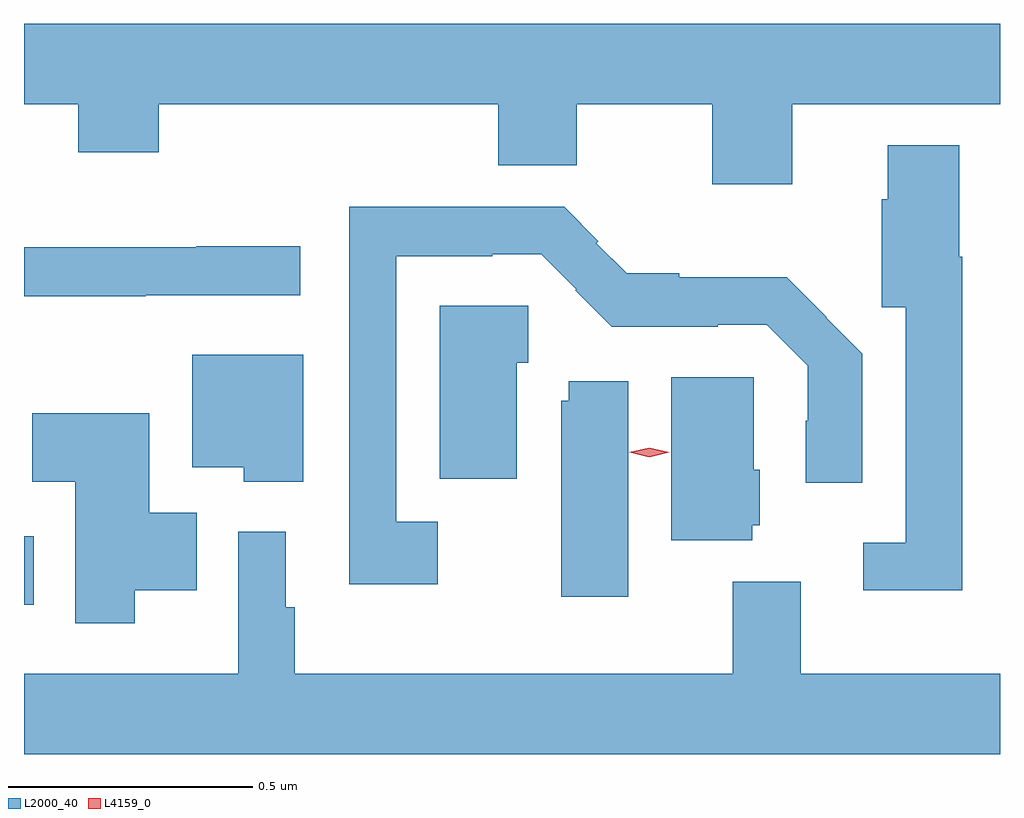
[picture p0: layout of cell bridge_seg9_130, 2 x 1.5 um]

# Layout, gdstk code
import gdstk
lib = gdstk.Library(unit=1e-6, precision=1e-09)
def R(c, l, rs):  # rectangles x0, y0, x1, y1
    for r in rs: c.add(gdstk.rectangle(r[:2], r[2:], *l))
def P(c, l, *ps):  # polygons
    for p in ps: c.add(gdstk.Polygon(p, *l))
L2000_40 = (2000, 40)
L4159_0 = (4159, 0)

bridge_seg9_130 = lib.new_cell('bridge_seg9_130')
R(bridge_seg9_130, L2000_40, [(394.016,1238.018,394.036,1238.158)])
P(bridge_seg9_130, L2000_40, [(395.59,1239.044),(396.016,1239.044),(396.016,1239.208),(394.016,1239.208),(394.016,1239.044),(394.127,1239.044),(394.127,1238.945),(394.292,1238.945),(394.292,1239.044),(394.988,1239.044),(394.988,1238.918),(395.149,1238.918),(395.149,1239.044),(395.426,1239.044),(395.426,1238.88),(395.59,1238.88)],
  [(395.939,1238.731),(395.933,1238.731),(395.933,1238.959),(395.786,1238.959),(395.786,1238.849),(395.774,1238.849),(395.774,1238.628),(395.823,1238.628),(395.823,1238.145),(395.736,1238.145),(395.736,1238.048),(395.939,1238.048)],
  [(394.864,1238.188),(394.779,1238.188),(394.779,1238.732),(394.976,1238.732),(394.976,1238.736),(395.076,1238.736),(395.148,1238.664),(395.146,1238.662),(395.22,1238.588),(395.438,1238.588),(395.438,1238.592),(395.538,1238.592),(395.622,1238.508),(395.622,1238.395),(395.618,1238.395),(395.618,1238.268),(395.734,1238.268),(395.734,1238.532),(395.66,1238.606),(395.661,1238.607),(395.579,1238.689),(395.359,1238.689),(395.359,1238.697),(395.251,1238.697),(395.189,1238.759),(395.193,1238.763),(395.123,1238.833),(394.683,1238.833),(394.683,1238.06),(394.864,1238.06)],
  [(394.265,1238.652),(394.582,1238.652),(394.582,1238.753),(394.369,1238.753),(394.369,1238.75),(394.016,1238.75),(394.016,1238.65),(394.265,1238.65)],
  [(395.026,1238.514),(395.049,1238.514),(395.049,1238.631),(394.868,1238.631),(394.868,1238.276),(395.026,1238.276)],
  [(394.588,1238.53),(394.361,1238.53),(394.361,1238.3),(394.466,1238.3),(394.466,1238.27),(394.588,1238.27)],
  [(395.508,1238.181),(395.524,1238.181),(395.524,1238.295),(395.511,1238.295),(395.511,1238.484),(395.342,1238.484),(395.342,1238.15),(395.508,1238.15)],
  [(395.254,1238.476),(395.132,1238.476),(395.132,1238.436),(395.117,1238.436),(395.117,1238.034),(395.254,1238.034)],
  [(394.243,1238.048),(394.37,1238.048),(394.37,1238.206),(394.273,1238.206),(394.273,1238.41),(394.033,1238.41),(394.033,1238.27),(394.121,1238.27),(394.121,1237.98),(394.243,1237.98)],
  [(396.016,1237.876),(395.608,1237.876),(395.608,1238.065),(395.468,1238.065),(395.468,1237.876),(394.571,1237.876),(394.571,1238.013),(394.552,1238.013),(394.552,1238.167),(394.455,1238.167),(394.455,1237.876),(394.016,1237.876),(394.016,1237.712),(396.016,1237.712)])
P(bridge_seg9_130, L4159_0, [(395.297,1238.32),(395.256,1238.33),(395.256,1238.33),(395.256,1238.33),(395.297,1238.34),(395.338,1238.33),(395.338,1238.33),(395.338,1238.33)])

lib.write_gds('bridge_seg9_130.gds')
